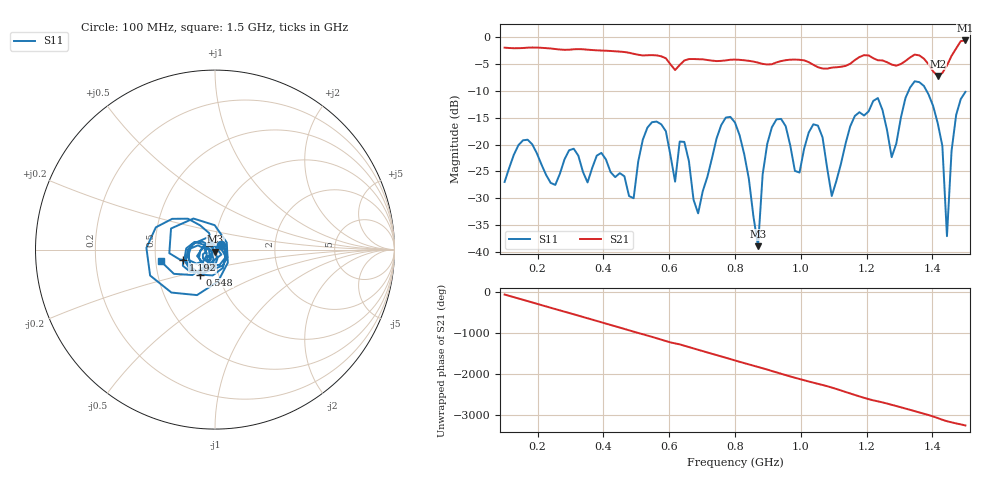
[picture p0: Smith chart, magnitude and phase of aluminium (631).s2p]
! NanoVNA-App
! Date: 2025-09-25 15:00:11
! Start: 100MHz Stop: 1,5GHz Points: 101
! S-Parameter data: F S11 S21 S12 S22
# Hz S RI R 50
!  Frequency  S11_Real  S11_Imag  S21_Real  S21_Imag  S12_Real  S12_Imag  S22_Real  S22_Imag
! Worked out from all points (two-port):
!   101 points, 100 MHz to 1.5 GHz, reference 50 ohm
!   highest |S21| = -0.58 dB at 1.5 GHz (marker M1); lowest = -7.2 dB at 1.416 GHz (marker M2)
!   |S21| within 3 dB of the highest: start of sweep to 577.7 MHz; 1.457 GHz to end of sweep (the widest 2 of 4)
!   lowest |S11| = -38.9 dB at 870 MHz (marker M3), VSWR 1.02, Z = 50.2 - j1.12 ohm
!   |S11| at or under -10 dB: start of sweep to 1.327 GHz; 1.382 GHz to end of sweep
!   S12 and S22 are empty: the file has one direction only
!   S11 on the Smith chart (normalised r, x): 100 MHz: 1.07, +0.06; 548 MHz: 0.82, -0.23; 1.192 GHz: 0.69, -0.08; 1.5 GHz: 0.53, -0.07
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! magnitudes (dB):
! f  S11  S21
! 100 MHz  -27.0  -1.9
! 156 MHz  -19.2  -2.0
! 338 MHz  -25.1  -2.2
! 492 MHz  -30.0  -3.1
! 548 MHz  -15.8  -3.3
! 576 MHz  -16.2  -3.5
! 646 MHz  -19.5  -4.3
! 688 MHz  -32.8  -4.1
! 800 MHz  -15.9  -4.1
! 870 MHz  -38.9  -4.7
! 912 MHz  -16.8  -5.0
! 996 MHz  -25.2  -4.2
! 1.038 GHz  -16.2  -5.1
! 1.094 GHz  -29.6  -5.6
! 1.192 GHz  -14.6  -3.3
! 1.234 GHz  -11.3  -4.3
! 1.276 GHz  -22.3  -5.1
! 1.346 GHz  -8.2  -3.2
! 1.416 GHz  -16.0  -7.2
! 1.444 GHz  -37.1  -5.2
! 1.458 GHz  -21.1  -3.4
! 1.5 GHz  -10.2  -0.6
